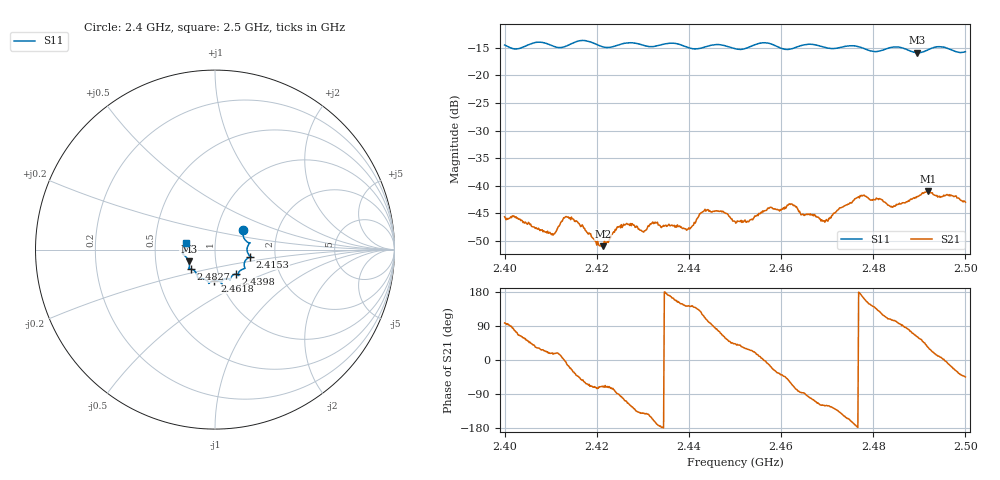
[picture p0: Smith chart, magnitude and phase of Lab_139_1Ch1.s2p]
# Hz S RI R 50
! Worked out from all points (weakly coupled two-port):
!   601 points, 2.4 GHz to 2.5 GHz, reference 50 ohm
!   highest |S21| = -40.98 dB at 2.4918 GHz (marker M1); lowest = -50.9 dB at 2.4213 GHz (marker M2)
!   lowest |S11| = -15.9 dB at 2.4895 GHz (marker M3), VSWR 1.38, Z = 37 - j5.02 ohm
!   |S11| at or under -10 dB: start of sweep to end of sweep
!   S12 and S22 are empty: the file has one direction only
!   S11 on the Smith chart (normalised r, x): 2.4 GHz: 1.33, +0.30; 2.4153 GHz: 1.48, -0.12; 2.4398 GHz: 1.21, -0.34; 2.4618 GHz: 0.94, -0.33; 2.4827 GHz: 0.75, -0.17; 2.5 GHz: 0.72, +0.06
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2.4e9  0.1554 0.1069  -0.000699 0.00519  0 0  0 0
2.410333e9  0.1842 0.0229  0.00349 0.00119  0 0  0 0
2.413167e9  0.182 -0.0172  0.00522 -0.000323  0 0  0 0
2.415333e9  0.1967 -0.0395  0.00384 -0.00279  0 0  0 0
2.416667e9  0.2024 -0.0436  0.00267 -0.00339  0 0  0 0
2.421333e9  0.172 -0.0569  0.00092 -0.00269  0 0  0 0
2.424833e9  0.1641 -0.0953  -6.61e-05 -0.00426  0 0  0 0
2.430167e9  0.1509 -0.1107  -0.00295 -0.00241  0 0  0 0
2.433333e9  0.13 -0.1336  -0.00439 -0.000566  0 0  0 0
2.439833e9  0.1155 -0.1362  -0.00324 0.00245  0 0  0 0
2.443667e9  0.0858 -0.1607  -0.00183 0.00559  0 0  0 0
2.45e9  0.065 -0.1618  0.00347 0.00325  0 0  0 0
2.456333e9  0.0388 -0.1937  0.00593 -0.000177  0 0  0 0
2.461833e9  -0.00293 -0.1727  0.00377 -0.00574  0 0  0 0
2.466667e9  -0.0344 -0.1881  -0.0012 -0.00536  0 0  0 0
2.469667e9  -0.0449 -0.1727  -0.00245 -0.00416  0 0  0 0
2.477667e9  -0.0986 -0.1474  -0.00791 0.00178  0 0  0 0
2.482667e9  -0.1349 -0.1086  -0.00285 0.00642  0 0  0 0
2.483333e9  -0.14 -0.1082  -0.00214 0.00632  0 0  0 0
2.4895e9  -0.146 -0.0662  0.0038 0.00704  0 0  0 0
2.491833e9  -0.1663 -0.0359  0.00738 0.00503  0 0  0 0
2.5e9  -0.1595 0.0388  0.00505 -0.00502  0 0  0 0
